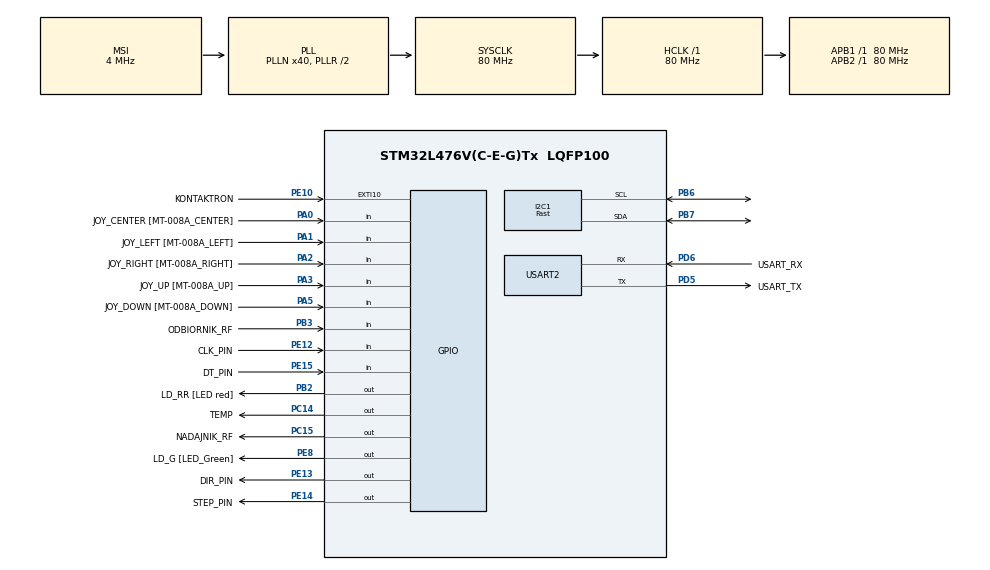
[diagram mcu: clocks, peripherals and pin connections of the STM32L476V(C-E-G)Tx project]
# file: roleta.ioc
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I2C1.I2C_Speed_Mode=I2C_Fast
I2C1.Timing=0x00702991
Mcu.Family=STM32L4
Mcu.Name=STM32L476V(C-E-G)Tx
Mcu.Package=LQFP100
NVIC.EXTI15_10_IRQn=true\:0\:0\:false\:false\:true\:true
NVIC.PriorityGroup=NVIC_PRIORITYGROUP_4
NVIC.TIM1_TRG_COM_TIM17_IRQn=true\:0\:0\:false\:false\:true\:true
NVIC.USART2_IRQn=true\:0\:0\:false\:false\:true\:true
PA0.GPIO_Label=JOY_CENTER [MT-008A_CENTER]
PA0.GPIO_Mode=GPIO_MODE_INPUT
PA0.GPIO_PuPd=GPIO_PULLDOWN
PA0.Signal=GPIO_Input
PA1.GPIO_Label=JOY_LEFT [MT-008A_LEFT]
PA1.GPIO_Mode=GPIO_MODE_INPUT
PA1.GPIO_PuPd=GPIO_PULLDOWN
PA1.Signal=GPIO_Input
PA2.GPIO_Label=JOY_RIGHT [MT-008A_RIGHT]
PA2.GPIO_Mode=GPIO_MODE_INPUT
PA2.GPIO_PuPd=GPIO_PULLDOWN
PA2.Signal=GPIO_Input
PA3.GPIO_Label=JOY_UP [MT-008A_UP]
PA3.GPIO_PuPd=GPIO_PULLDOWN
PA3.Signal=GPIO_Input
PA5.GPIO_Label=JOY_DOWN [MT-008A_DOWN]
PA5.GPIO_Mode=GPIO_MODE_INPUT
PA5.GPIO_PuPd=GPIO_PULLDOWN
PA5.Signal=GPIO_Input
PB2.GPIO_Label=LD_RR [LED red]
PB2.GPIO_ModeDefaultOutputPP=GPIO_MODE_OUTPUT_PP
PB2.GPIO_PuPd=GPIO_PULLUP
PB2.GPIO_Speed=GPIO_SPEED_FREQ_VERY_HIGH
PB2.Signal=GPIO_Output
PB3\ (JTDO-TRACESWO).GPIO_Label=ODBIORNIK_RF
PB3\ (JTDO-TRACESWO).Signal=GPIO_Input
PB6.Mode=I2C
PB6.Signal=I2C1_SCL
PB7.Mode=I2C
PB7.Signal=I2C1_SDA
PC14-OSC32_IN\ (PC14).GPIO_Label=TEMP
PC14-OSC32_IN\ (PC14).Signal=GPIO_Output
PC15-OSC32_OUT\ (PC15).GPIO_Label=NADAJNIK_RF
PC15-OSC32_OUT\ (PC15).Signal=GPIO_Output
PD5.GPIO_Label=USART_TX
PD5.GPIO_Mode=GPIO_MODE_AF_PP
PD5.GPIO_PuPd=GPIO_PULLUP
PD5.GPIO_Speed=GPIO_SPEED_FREQ_VERY_HIGH
PD5.Mode=Asynchronous
PD5.Signal=USART2_TX
PD6.GPIO_Label=USART_RX
PD6.GPIO_Mode=GPIO_MODE_AF_PP
PD6.GPIO_PuPd=GPIO_PULLUP
PD6.GPIO_Speed=GPIO_SPEED_FREQ_VERY_HIGH
PD6.Mode=Asynchronous
PD6.Signal=USART2_RX
PE10.GPIO_Label=KONTAKTRON
PE10.GPIO_ModeDefaultEXTI=GPIO_MODE_IT_RISING_FALLING
PE10.GPIO_PuPd=GPIO_PULLUP
PE10.Signal=GPXTI10
PE12.GPIO_Label=CLK_PIN
PE12.Signal=GPIO_Input
PE13.GPIO_Label=DIR_PIN
PE13.Signal=GPIO_Output
PE14.GPIO_Label=STEP_PIN
PE14.Signal=GPIO_Output
PE15.GPIO_Label=DT_PIN
PE15.Signal=GPIO_Input
PE8.GPIO_Label=LD_G [LED_Green]
PE8.GPIO_ModeDefaultOutputPP=GPIO_MODE_OUTPUT_PP
PE8.GPIO_PuPd=GPIO_PULLUP
PE8.GPIO_Speed=GPIO_SPEED_FREQ_VERY_HIGH
PE8.Signal=GPIO_Output
ProjectManager.HeapSize=0x200
ProjectManager.StackSize=0x400
ProjectManager.TargetToolchain=TrueSTUDIO
RCC.AHBFreq_Value=80000000
RCC.APB1Freq_Value=80000000
RCC.APB1TimFreq_Value=80000000
RCC.APB2Freq_Value=80000000
RCC.APB2TimFreq_Value=80000000
RCC.CortexFreq_Value=80000000
RCC.HCLKFreq_Value=80000000
RCC.HSE_VALUE=8000000
RCC.HSI_VALUE=16000000
RCC.LSE_VALUE=32768
RCC.MSI_VALUE=4000000
RCC.PLLN=40
RCC.PREFETCH_ENABLE=1
RCC.SYSCLKFreq_VALUE=80000000
RCC.SYSCLKSource=RCC_SYSCLKSOURCE_PLLCLK
RCC.VCOOutputFreq_Value=160000000
TIM17.Period=10
TIM17.Prescaler=80
USART2.VirtualMode-Asynchronous=VM_ASYNC
USART2.WordLength=WORDLENGTH_7B
VP_TIM17_VS_ClockSourceINT.Mode=Enable_Timer
board=32L476GDISCOVERY

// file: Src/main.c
/**
 ******************************************************************************
 * @file           : main.c
 * @brief          : Main program body
 ******************************************************************************
 ** This notice applies to any and all portions of this file
 * that are not between comment pairs USER CODE BEGIN and
 * USER CODE END. Other portions of this file, whether
 * inserted by the user or by software development tools
 * are owned by their respective copyright owners.
 *
 * COPYRIGHT(c) 2018 STMicroelectronics
 *
 * Redistribution and use in source and binary forms, with or without modification,
 * are permitted provided that the following conditions are met:
 *   1. Redistributions of source code must retain the above copyright notice,
 *      this list of conditions and the following disclaimer.
 *   2. Redistributions in binary form must reproduce the above copyright notice,
 *      this list of conditions and the following disclaimer in the documentation
 *      and/or other materials provided with the distribution.
 *   3. Neither the name of STMicroelectronics nor the names of its contributors
 *      may be used to endorse or promote products derived from this software
 *      without specific prior written permission.
 *
 * THIS SOFTWARE IS PROVIDED BY THE COPYRIGHT HOLDERS AND CONTRIBUTORS "AS IS"
 * AND ANY EXPRESS OR IMPLIED WARRANTIES, INCLUDING, BUT NOT LIMITED TO, THE
 * IMPLIED WARRANTIES OF MERCHANTABILITY AND FITNESS FOR A PARTICULAR PURPOSE ARE
 * DISCLAIMED. IN NO EVENT SHALL THE COPYRIGHT HOLDER OR CONTRIBUTORS BE LIABLE
 * FOR ANY DIRECT, INDIRECT, INCIDENTAL, SPECIAL, EXEMPLARY, OR CONSEQUENTIAL
 * DAMAGES (INCLUDING, BUT NOT LIMITED TO, PROCUREMENT OF SUBSTITUTE GOODS OR
 * SERVICES; LOSS OF USE, DATA, OR PROFITS; OR BUSINESS INTERRUPTION) HOWEVER
 * CAUSED AND ON ANY THEORY OF LIABILITY, WHETHER IN CONTRACT, STRICT LIABILITY,
 * OR TORT (INCLUDING NEGLIGENCE OR OTHERWISE) ARISING IN ANY WAY OUT OF THE USE
 * OF THIS SOFTWARE, EVEN IF ADVISED OF THE POSSIBILITY OF SUCH DAMAGE.
 *
 ******************************************************************************
 */
#include "main.h"
#include "stm32l4xx_hal.h"
#include "i2c.h"
#include "tim.h"
#include "usart.h"
#include "gpio.h"

/* USER CODE BEGIN Includes */
#include "Radio_433.h"
/* USER CODE END Includes */

/* USER CODE BEGIN PV */
/* Private variables ---------------------------------------------------------*/
volatile int Duty = 0;
int steps_count = 0;
int counter = 0;
int angle = 0;
int aState;
int aLastState;
int flag_kontaktron = 0, flag_0 = 0, flag_1 = 0, flag_2 = 0, flag_3 = 0; //do obslugi przerwan
float degree = 0.0;
const float motor_angle = 1.8;
const float step_size = 1.0; //{1.0, 0.5, 0.25, 0.125, 0.0625}
/*step_size - zadawany krok
 * pe³ny krok, czyli 1 -> 200 kroków na obrót
 * 1/2 kroku, czyli 0.5 -> 400
 * 1/4 kroku, czyli 0.25 -> 800
 * 1/8 kroku, czyli 0.125 -> 1600
 * 1/16 kroku, czyli 0.0625 -> 3200
 * PRZY ZMIANIE KROKU PODLACZYC NA PLYTCE ODPOWIEDNIE PINY DO +5V
 */
/* USER CODE END PV */

void SystemClock_Config(void);

/* USER CODE BEGIN PFP */
/* Private function prototypes -----------------------------------------------*/
int _write(int file, uint8_t *ptr, int len) {
	HAL_UART_Transmit(&huart2, ptr, len, 100);
	return len;
}

void HAL_TIM_PeriodElapsedCallback(TIM_HandleTypeDef *htim) {
	if (htim == &htim17) {
		podstawa_czasowa_kominikacji();
	}
}

void HAL_GPIO_EXTI_Callback(uint16_t GPIO_Pin) { //przerwania, aby pobieralo dane o kontaktronie
	//tylko gdy jest odlaczany/podlaczany
	if (GPIO_Pin == KONTAKTRON_Pin) {
		flag_kontaktron = 1;
		if (HAL_GPIO_ReadPin(KONTAKTRON_GPIO_Port, KONTAKTRON_Pin) == GPIO_PIN_RESET)//zamkniete
			printf("Okno zamkniete\r\n");
		else
			printf("Okno otwarte\r\n");
	}
	/*if(GPIO_Pin==JOY_UP_Pin){
	 flag_0=1;
	 printf("JOY_UP wcisniety\r\n");
	 //if(HAL_GPIO_ReadPin(JOY_UP_GPIO_Port, JOY_UP_Pin)==GPIO_PIN_SET)
	 //	pozycja0();
	 }
	 if(GPIO_Pin==JOY_LEFT_Pin)
	 flag_1=1;
	 if(GPIO_Pin==JOY_RIGHT_Pin)
	 flag_2=1;
	 if(GPIO_Pin==JOY_DOWN_Pin)
	 flag_3=1;*/
}
//funkcja realizujaca zadana ilosc obrotow z zadana predkoscia
void stepper_rotate(int steps_amount, float rpm) {
	//ilosc krokow na obrot
	float steps_per_rotation;				//=((360.00/motor_angle)/step_size);
	//calkowita ilsoc krokow w zadanej ilosci rotacji
	float total_steps;	//=rotation*steps_per_rotation;
	//czas trwania jednego obrotu [w us]
	unsigned long step_period_micro_sec;//=((60.0000/(rpm*steps_per_rotation))*(1E6/2.0000));

	if (steps_amount > 0) { //krec w prawo
		HAL_GPIO_WritePin(DIR_PIN_GPIO_Port, DIR_PIN_Pin, GPIO_PIN_SET);

		steps_per_rotation = ((360.00 / motor_angle) / step_size);
		total_steps = steps_amount; //rotation*steps_per_rotation;
		step_period_micro_sec = ((60.0000 / (rpm * steps_per_rotation))
				* (1E6 / 2.0000));

		for (unsigned long i = 0; i < total_steps; i++) {
			HAL_GPIO_WritePin(STEP_PIN_GPIO_Port, STEP_PIN_Pin, GPIO_PIN_SET);
			HAL_Delay(step_period_micro_sec / 1000);
			HAL_GPIO_WritePin(STEP_PIN_GPIO_Port, STEP_PIN_Pin, GPIO_PIN_RESET);
			HAL_Delay(step_period_micro_sec / 1000);

			steps_count++;
		}
		printf("Liczba krokow: %d\r\n", steps_count);
	}
	if (steps_amount < 0) { //krec w lewo
		HAL_GPIO_WritePin(DIR_PIN_GPIO_Port, DIR_PIN_Pin, GPIO_PIN_RESET);
		steps_amount = steps_amount * (-1); //zamien z powrotem na dodatnia wartosc

		steps_per_rotation = ((360.00 / motor_angle) / step_size);
		total_steps = steps_amount; //rotation*steps_per_rotation;
		step_period_micro_sec = ((60.0000 / (rpm * steps_per_rotation))
				* (1E6 / 2.0000));

		for (unsigned long i = 0; i < total_steps; i++) {
			HAL_GPIO_WritePin(STEP_PIN_GPIO_Port, STEP_PIN_Pin, GPIO_PIN_SET);
			HAL_Delay(step_period_micro_sec / 1000);
			HAL_GPIO_WritePin(STEP_PIN_GPIO_Port, STEP_PIN_Pin, GPIO_PIN_RESET);
			HAL_Delay(step_period_micro_sec / 1000);

			steps_count--;
		}
		printf("Liczba krokow: %d\r\n", steps_count);
	}
}
void pozycja0() {
	if (HAL_GPIO_ReadPin(KONTAKTRON_GPIO_Port, KONTAKTRON_Pin) == GPIO_PIN_RESET) { //okno zamkniete
		if ((steps_count >= 0) && (steps_count <= 1200)) //miedzy poz 0-3
			stepper_rotate(-steps_count, 200);
		if ((steps_count < 0) || (steps_count > 1200))
			printf("Kroki poza dopuszczalnym zakresem 0-1200\r\n");
	} else {} //printf("Okno otwarte - brak mozliwosci ruchu roleta\r\n");

}
void pozycja1() {
	if (HAL_GPIO_ReadPin(KONTAKTRON_GPIO_Port, KONTAKTRON_Pin) == GPIO_PIN_RESET) { //okno zamkniete
		if ((steps_count >= 0) && (steps_count < 400)) //miedzy poz 0-1
			stepper_rotate(400 - steps_count, 200);
		if ((steps_count >= 400) && (steps_count <= 1200)) //miedzy poz 1-3
			stepper_rotate(-(steps_count - 400), 200);
		if ((steps_count < 0) || (steps_count > 1200))
			printf("Kroki poza dopuszczalnym zakresem 0-1200\r\n");
	} else {} //printf("Okno otwarte - brak mozliwosci ruchu roleta\r\n");
}
void pozycja2() {
	if (HAL_GPIO_ReadPin(KONTAKTRON_GPIO_Port, KONTAKTRON_Pin) == GPIO_PIN_RESET) { //okno zamkniete
		if ((steps_count >= 0) && (steps_count < 800)) //miedzy poz 0-2
			stepper_rotate(800 - steps_count, 200);
		if ((steps_count >= 800) && (steps_count <= 1200)) //miedzy poz 2-3
			stepper_rotate(-(steps_count - 800), 200);
		if ((steps_count < 0) || (steps_count > 1200))
			printf("Kroki poza dopuszczalnym zakresem 0-1200\r\n");
	} else {} //printf("Okno otwarte - brak mozliwosci ruchu roleta\r\n");
}
void pozycja3() {
	if (HAL_GPIO_ReadPin(KONTAKTRON_GPIO_Port, KONTAKTRON_Pin) == GPIO_PIN_RESET) { //okno zamkniete
		if ((steps_count >= 0) && (steps_count <= 1200)) //miedzy poz 0-3
			stepper_rotate(1200 - steps_count, 200);
		if ((steps_count < 0) || (steps_count > 1200))
			printf("Kroki poza dopuszczalnym zakresem 0-1200\r\n");
	} else {} //printf("Okno otwarte - brak mozliwosci ruchu roleta\r\n");
}
void rotateCW() {
	if ((steps_count < 0) || (steps_count > 1200))
		printf("Kroki poza dopuszczalnym zakresem 0-1200\r\n");
	else {
		HAL_GPIO_WritePin(DIR_PIN_GPIO_Port, DIR_PIN_Pin, GPIO_PIN_RESET);
		HAL_GPIO_WritePin(STEP_PIN_GPIO_Port, STEP_PIN_Pin, GPIO_PIN_SET);
		HAL_Delay(2);
		HAL_GPIO_WritePin(STEP_PIN_GPIO_Port, STEP_PIN_Pin, GPIO_PIN_RESET);
		HAL_Delay(2);
	}
}
void rotateCCW() {
	if ((steps_count < 0) || (steps_count > 1200))
		printf("Kroki poza dopuszczalnym zakresem 0-1200\r\n");
	else {
		HAL_GPIO_WritePin(DIR_PIN_GPIO_Port, DIR_PIN_Pin, GPIO_PIN_SET);
		HAL_GPIO_WritePin(STEP_PIN_GPIO_Port, STEP_PIN_Pin, GPIO_PIN_SET);
		HAL_Delay(2);
		HAL_GPIO_WritePin(STEP_PIN_GPIO_Port, STEP_PIN_Pin, GPIO_PIN_RESET);
		HAL_Delay(2);
	}
}
/* USER CODE END PFP */

int main(void) {
	/* USER CODE BEGIN 1 */

	//odczytanie inicjalizujacej wartosci pinu CLK
	aLastState = HAL_GPIO_ReadPin(CLK_PIN_GPIO_Port, CLK_PIN_Pin);
	/* USER CODE END 1 */

	/* MCU Configuration----------------------------------------------------------*/

	/* Reset of all peripherals, Initializes the Flash interface and the Systick. */
	HAL_Init();

	/* Configure the system clock */
	SystemClock_Config();

	/* Initialize all configured peripherals */
	MX_GPIO_Init();
	MX_USART2_UART_Init();
	MX_I2C1_Init();
	MX_TIM17_Init();
	/* USER CODE BEGIN 2 */
	HAL_TIM_Base_Start_IT(&htim17);
	printf("START \r\n");

	//pierwsze sprawdzenie, jednorazowe przed wejsciem do while, jaki jest stan okna
	if (HAL_GPIO_ReadPin(KONTAKTRON_GPIO_Port, KONTAKTRON_Pin) == GPIO_PIN_RESET) { //zamkniete
		HAL_GPIO_WritePin(LD_G_GPIO_Port, LD_G_Pin, GPIO_PIN_SET);
		HAL_GPIO_WritePin(LD_RR_GPIO_Port, LD_RR_Pin, GPIO_PIN_RESET);
		printf("Status okna po wlaczeniu zasilania - zamkniete\r\n");
	} else {
		HAL_GPIO_WritePin(LD_G_GPIO_Port, LD_G_Pin, GPIO_PIN_RESET);
		HAL_GPIO_WritePin(LD_RR_GPIO_Port, LD_RR_Pin, GPIO_PIN_SET);
		printf("Status okna po wlaczeniu zasilania - otwarte\r\n");
	}
	/* USER CODE END 2 */

	/* Infinite loop */
	/* USER CODE BEGIN WHILE */

	int tmp = 1;
	int dana = 0;
	int numer = 0;
	while (1) {

		//---------------------------------------- komunikacja 433 poczatek
		if (flaga_odbierania == 2) {
			printf("odebrano: %d, %d \r\n", odebrano[0], odebrano[1]);

			if (odebrano[0] == 68 && odebrano[1] == 100) {
				pozycja0();
				for (dana = 0; dana < 100000; dana++) {
					HAL_GPIO_TogglePin(LD_RR_GPIO_Port, LD_RR_Pin);
				}
				nadaj_433(69, 100);
			}
			if (odebrano[0] == 68 && odebrano[1] == 101) {
				pozycja1();
				for (dana = 0; dana < 100000; dana++) {
					HAL_GPIO_TogglePin(LD_RR_GPIO_Port, LD_RR_Pin);
				}
				nadaj_433(69, 101);
			}
			if (odebrano[0] == 68 && odebrano[1] == 102) {
				pozycja2();
				for (dana = 0; dana < 100000; dana++) {
					HAL_GPIO_TogglePin(LD_RR_GPIO_Port, LD_RR_Pin);
				}
				nadaj_433(69, 100);
			}
			if (odebrano[0] == 68 && odebrano[1] == 103) {
				pozycja3();
				for (dana = 0; dana < 100000; dana++) {
					HAL_GPIO_TogglePin(LD_RR_GPIO_Port, LD_RR_Pin);
				}
				nadaj_433(69, 101);
			}
			odebrano[0] = 0;
			odebrano[1] = 0;
			flaga_odbierania = 1;
			tryb_odbierania = 0;
		}
		tmp++;
		if (tmp == 400000) {
			HAL_GPIO_TogglePin(LD_G_GPIO_Port,LD_G_Pin);

			//nadaj_433(20,30);
			printf("test\r\n");
			tmp = 0;
			numer++;

		}
		//---------------------------------------- komunikacja 433 koniec

		//sprawdzanie kontaktronu - czy okno zamkniete
		if (flag_kontaktron == 1) {
			if (HAL_GPIO_ReadPin(KONTAKTRON_GPIO_Port, KONTAKTRON_Pin) == GPIO_PIN_RESET) { //zamkniete
				HAL_GPIO_WritePin(LD_G_GPIO_Port, LD_G_Pin, GPIO_PIN_SET);
				HAL_GPIO_WritePin(LD_RR_GPIO_Port, LD_RR_Pin, GPIO_PIN_RESET);
				//printf("Okno zamkniete\r\n");
			} else {
				HAL_GPIO_WritePin(LD_G_GPIO_Port, LD_G_Pin, GPIO_PIN_RESET);
				HAL_GPIO_WritePin(LD_RR_GPIO_Port, LD_RR_Pin, GPIO_PIN_SET);
				//printf("Okno otwarte\r\n");
			}
		}

		/*opcja 3*/
		int i = 0;
		if (HAL_GPIO_ReadPin(JOY_DOWN_GPIO_Port, JOY_DOWN_Pin) == GPIO_PIN_SET) {
			pozycja3();
			HAL_GPIO_WritePin(LD_RR_GPIO_Port, LD_RR_Pin, GPIO_PIN_SET);
			//if (tlo_nadawania == 3) {
				//nadaj_433(48, 100);
			//}
		}

		if (HAL_GPIO_ReadPin(JOY_UP_GPIO_Port, JOY_UP_Pin) == GPIO_PIN_SET) {
			pozycja0();
			//if (tlo_nadawania == 3) {
				//nadaj_433(48, 101);
			//}
		}
		if (HAL_GPIO_ReadPin(JOY_LEFT_GPIO_Port, JOY_LEFT_Pin) == GPIO_PIN_SET)
			pozycja1();
		if (HAL_GPIO_ReadPin(JOY_RIGHT_GPIO_Port, JOY_RIGHT_Pin) == GPIO_PIN_SET)
			pozycja2();

		if (HAL_GPIO_ReadPin(KONTAKTRON_GPIO_Port, KONTAKTRON_Pin) == GPIO_PIN_RESET) {	//okno zamkniete
		//PORUSZANIE ENKODEREM I SILNIKIEM
		//odczytanie biezacego stanu pinu CLK
		aState = HAL_GPIO_ReadPin(CLK_PIN_GPIO_Port, CLK_PIN_Pin);
		//jezeli poprzedni i obecny stan clk jest inny, tzn ze wykonano ruch
		if (aState != aLastState) {
			if (HAL_GPIO_ReadPin(DT_PIN_GPIO_Port, DT_PIN_Pin) != aState) {
				//za jednym pokreceniem wykonuje sie 5razy wiecej krokow
				for (int i = 0; i < 5; i++) {
					steps_count--;
					rotateCW();
				}
			} else {
				for (int i = 0; i < 5; i++) {
					steps_count++;
					rotateCCW();
				}
			}
			printf("Liczba krokow: %d\r\n", steps_count);
		}
		aLastState = aState;
		} else {
		} //printf("Okno otwarte - brak mozliwosci ruchu roleta\r\n");
		/*koniec opcji 3*/
		/* USER CODE END WHILE */

	}

}

void SystemClock_Config(void) {

	RCC_OscInitTypeDef RCC_OscInitStruct;
	RCC_ClkInitTypeDef RCC_ClkInitStruct;
	RCC_PeriphCLKInitTypeDef PeriphClkInit;

	/**Initializes the CPU, AHB and APB busses clocks
	 */
	RCC_OscInitStruct.OscillatorType = RCC_OSCILLATORTYPE_MSI;
	RCC_OscInitStruct.MSIState = RCC_MSI_ON;
	RCC_OscInitStruct.MSICalibrationValue = 0;
	RCC_OscInitStruct.MSIClockRange = RCC_MSIRANGE_6;
	RCC_OscInitStruct.PLL.PLLState = RCC_PLL_ON;
	RCC_OscInitStruct.PLL.PLLSource = RCC_PLLSOURCE_MSI;
	RCC_OscInitStruct.PLL.PLLN = 40;
	RCC_OscInitStruct.PLL.PLLP = RCC_PLLP_DIV7;
	RCC_OscInitStruct.PLL.PLLQ = RCC_PLLQ_DIV2;
	RCC_OscInitStruct.PLL.PLLR = RCC_PLLR_DIV2;
	if (HAL_RCC_OscConfig(&RCC_OscInitStruct) != HAL_OK) {
		_Error_Handler(__FILE__, __LINE__);
	}

	/**Initializes the CPU, AHB and APB busses clocks
	 */
	RCC_ClkInitStruct.ClockType = RCC_CLOCKTYPE_HCLK | RCC_CLOCKTYPE_SYSCLK
			| RCC_CLOCKTYPE_PCLK1 | RCC_CLOCKTYPE_PCLK2;
	RCC_ClkInitStruct.SYSCLKSource = RCC_SYSCLKSOURCE_PLLCLK;
	RCC_ClkInitStruct.AHBCLKDivider = RCC_SYSCLK_DIV1;
	RCC_ClkInitStruct.APB1CLKDivider = RCC_HCLK_DIV1;
	RCC_ClkInitStruct.APB2CLKDivider = RCC_HCLK_DIV1;

	if (HAL_RCC_ClockConfig(&RCC_ClkInitStruct, FLASH_LATENCY_4) != HAL_OK) {
		_Error_Handler(__FILE__, __LINE__);
	}

	PeriphClkInit.PeriphClockSelection = RCC_PERIPHCLK_USART2
			| RCC_PERIPHCLK_I2C1;
	PeriphClkInit.Usart2ClockSelection = RCC_USART2CLKSOURCE_PCLK1;
	PeriphClkInit.I2c1ClockSelection = RCC_I2C1CLKSOURCE_PCLK1;
	if (HAL_RCCEx_PeriphCLKConfig(&PeriphClkInit) != HAL_OK) {
		_Error_Handler(__FILE__, __LINE__);
	}

	/**Configure the main internal regulator output voltage
	 */
	if (HAL_PWREx_ControlVoltageScaling(PWR_REGULATOR_VOLTAGE_SCALE1)
			!= HAL_OK) {
		_Error_Handler(__FILE__, __LINE__);
	}

	/**Configure the Systick interrupt time
	 */
	HAL_SYSTICK_Config(HAL_RCC_GetHCLKFreq() / 1000);

	/**Configure the Systick
	 */
	HAL_SYSTICK_CLKSourceConfig(SYSTICK_CLKSOURCE_HCLK);

	/* SysTick_IRQn interrupt configuration */
	HAL_NVIC_SetPriority(SysTick_IRQn, 0, 0);
}

void _Error_Handler(char *file, int line) {
	while (1) {
	}
}

/************************ (C) COPYRIGHT STMicroelectronics *****END OF FILE****/
